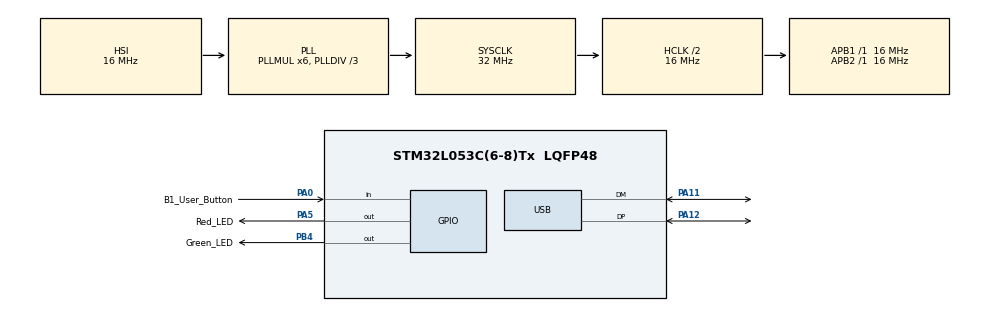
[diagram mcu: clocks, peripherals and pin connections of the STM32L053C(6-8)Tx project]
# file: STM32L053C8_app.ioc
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Mcu.Family=STM32L0
Mcu.Name=STM32L053C(6-8)Tx
Mcu.Package=LQFP48
NVIC.USB_IRQn=true\:0\:0\:false\:false\:true\:true\:true\:true
PA0.GPIO_Label=B1_User_Button
PA0.Signal=GPIO_Input
PA11.Mode=Device
PA11.Signal=USB_DM
PA12.Mode=Device
PA12.Signal=USB_DP
PA5.GPIO_Label=Red_LED
PA5.Signal=GPIO_Output
PB4.GPIO_Label=Green_LED
PB4.Signal=GPIO_Output
ProjectManager.HeapSize=0x200
ProjectManager.StackSize=0x400
ProjectManager.TargetToolchain=STM32CubeIDE
RCC.AHBCLKDivider=RCC_SYSCLK_DIV2
RCC.AHBFreq_Value=16000000
RCC.APB1Freq_Value=16000000
RCC.APB1TimFreq_Value=16000000
RCC.APB2Freq_Value=16000000
RCC.APB2TimFreq_Value=16000000
RCC.HCLKFreq_Value=16000000
RCC.HSE_VALUE=8000000
RCC.HSI16_VALUE=16000000
RCC.HSI48MClockSelection=RCC_USBCLKSOURCE_HSI48
RCC.HSI48_VALUE=48000000
RCC.HSI_VALUE=16000000
RCC.LSE_VALUE=32768
RCC.MSI_VALUE=2097000
RCC.PLLDIV=RCC_PLLDIV_3
RCC.PLLMUL=RCC_PLLMUL_6
RCC.SYSCLKFreq_VALUE=32000000
RCC.SYSCLKSource=RCC_SYSCLKSOURCE_PLLCLK
RCC.VCOOutputFreq_Value=96000000
USB_DEVICE.CLASS_NAME_FS=CDC
USB_DEVICE.VirtualMode=Cdc
USB_DEVICE.VirtualModeFS=Cdc_FS
VP_USB_DEVICE_VS_USB_DEVICE_CDC_FS.Mode=CDC_FS
board=usb_disk

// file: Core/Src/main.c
/* USER CODE BEGIN Header */
/**
 ******************************************************************************
 * @file           : main.c
 * @brief          : Main program body
 ******************************************************************************
 * @attention
 *
 * Copyright (c) 2025 STMicroelectronics.
 * All rights reserved.
 *
 * This software is licensed under terms that can be found in the LICENSE file
 * in the root directory of this software component.
 * If no LICENSE file comes with this software, it is provided AS-IS.
 *
 ******************************************************************************
 */
/* USER CODE END Header */
#include "main.h"
#include "usb_device.h"

/* USER CODE BEGIN Includes */
#include "usbd_cdc_if.h"
#include "modbus.h"
/* USER CODE END Includes */

/* USER CODE BEGIN PV */

__attribute__((used, section(".app_signature")))
    const __IO uint32_t flash_app_code =
    (uint32_t) 0xAA5500FF;

uint32_t u32_mtmp = 0;

/* USER CODE END PV */

void SystemClock_Config(void);
static void MX_GPIO_Init(void);

int main(void)
{

  /* MCU Configuration--------------------------------------------------------*/

  /* Reset of all peripherals, Initializes the Flash interface and the Systick. */
  HAL_Init ();

  /* Configure the system clock */
  SystemClock_Config ();

  /* Initialize all configured peripherals */
  MX_GPIO_Init ();
  MX_USB_DEVICE_Init ();
  /* USER CODE BEGIN 2 */
  if (flash_app_code != 0xAA5500FF)
  {
    u32_mtmp = 500;
  }
  /* USER CODE END 2 */

  /* Infinite loop */
  /* USER CODE BEGIN WHILE */
  HAL_GPIO_TogglePin (Red_LED_GPIO_Port, Red_LED_Pin);
  HAL_Delay (500 + u32_mtmp);
  HAL_GPIO_TogglePin (Green_LED_GPIO_Port, Green_LED_Pin);
  HAL_GPIO_TogglePin (Red_LED_GPIO_Port, Red_LED_Pin);
  HAL_Delay (500 + u32_mtmp);
  HAL_GPIO_TogglePin (Green_LED_GPIO_Port, Green_LED_Pin);
  HAL_GPIO_TogglePin (Red_LED_GPIO_Port, Red_LED_Pin);
  HAL_Delay (500 + u32_mtmp);
  HAL_GPIO_TogglePin (Green_LED_GPIO_Port, Green_LED_Pin);
  HAL_GPIO_TogglePin (Red_LED_GPIO_Port, Red_LED_Pin);
  while (1)
  {
    /* USER CODE END WHILE */
    if (st_modbus_data.rx_length)
    {
      modbus_rtu_app ();
      st_modbus_data.rx_length = 0;
    }
    if (st_modbus_data.tx_length)
    {
      HAL_Delay (10);
      CDC_Transmit_FS (st_modbus_data.ptr_tx, st_modbus_data.tx_length);
      st_modbus_data.tx_length = 0;
    }
  }
}

void SystemClock_Config(void)
{
  RCC_OscInitTypeDef RCC_OscInitStruct = { 0 };
  RCC_ClkInitTypeDef RCC_ClkInitStruct = { 0 };
  RCC_PeriphCLKInitTypeDef PeriphClkInit = { 0 };

  /** Configure the main internal regulator output voltage
   */
  __HAL_PWR_VOLTAGESCALING_CONFIG(PWR_REGULATOR_VOLTAGE_SCALE1);

  /** Initializes the RCC Oscillators according to the specified parameters
   * in the RCC_OscInitTypeDef structure.
   */
  RCC_OscInitStruct.OscillatorType = RCC_OSCILLATORTYPE_HSI | RCC_OSCILLATORTYPE_HSI48;
  RCC_OscInitStruct.HSIState = RCC_HSI_ON;
  RCC_OscInitStruct.HSICalibrationValue = RCC_HSICALIBRATION_DEFAULT;
  RCC_OscInitStruct.HSI48State = RCC_HSI48_ON;
  RCC_OscInitStruct.PLL.PLLState = RCC_PLL_ON;
  RCC_OscInitStruct.PLL.PLLSource = RCC_PLLSOURCE_HSI;
  RCC_OscInitStruct.PLL.PLLMUL = RCC_PLLMUL_6;
  RCC_OscInitStruct.PLL.PLLDIV = RCC_PLLDIV_3;
  if (HAL_RCC_OscConfig (&RCC_OscInitStruct) != HAL_OK)
  {
    Error_Handler ();
  }

  /** Initializes the CPU, AHB and APB buses clocks
   */
  RCC_ClkInitStruct.ClockType = RCC_CLOCKTYPE_HCLK | RCC_CLOCKTYPE_SYSCLK | RCC_CLOCKTYPE_PCLK1
      | RCC_CLOCKTYPE_PCLK2;
  RCC_ClkInitStruct.SYSCLKSource = RCC_SYSCLKSOURCE_PLLCLK;
  RCC_ClkInitStruct.AHBCLKDivider = RCC_SYSCLK_DIV2;
  RCC_ClkInitStruct.APB1CLKDivider = RCC_HCLK_DIV1;
  RCC_ClkInitStruct.APB2CLKDivider = RCC_HCLK_DIV1;

  if (HAL_RCC_ClockConfig (&RCC_ClkInitStruct, FLASH_LATENCY_0) != HAL_OK)
  {
    Error_Handler ();
  }
  PeriphClkInit.PeriphClockSelection = RCC_PERIPHCLK_USB;
  PeriphClkInit.UsbClockSelection = RCC_USBCLKSOURCE_HSI48;
  if (HAL_RCCEx_PeriphCLKConfig (&PeriphClkInit) != HAL_OK)
  {
    Error_Handler ();
  }
}

static void MX_GPIO_Init(void)
{
  GPIO_InitTypeDef GPIO_InitStruct = { 0 };

  /* GPIO Ports Clock Enable */
  __HAL_RCC_GPIOA_CLK_ENABLE();
  __HAL_RCC_GPIOB_CLK_ENABLE();

  /*Configure GPIO pin Output Level */
  HAL_GPIO_WritePin (Red_LED_GPIO_Port, Red_LED_Pin, GPIO_PIN_RESET);

  /*Configure GPIO pin Output Level */
  HAL_GPIO_WritePin (Green_LED_GPIO_Port, Green_LED_Pin, GPIO_PIN_RESET);

  /*Configure GPIO pin : B1_User_Button_Pin */
  GPIO_InitStruct.Pin = B1_User_Button_Pin;
  GPIO_InitStruct.Mode = GPIO_MODE_INPUT;
  GPIO_InitStruct.Pull = GPIO_NOPULL;
  HAL_GPIO_Init (B1_User_Button_GPIO_Port, &GPIO_InitStruct);

  /*Configure GPIO pin : Red_LED_Pin */
  GPIO_InitStruct.Pin = Red_LED_Pin;
  GPIO_InitStruct.Mode = GPIO_MODE_OUTPUT_PP;
  GPIO_InitStruct.Pull = GPIO_NOPULL;
  GPIO_InitStruct.Speed = GPIO_SPEED_FREQ_LOW;
  HAL_GPIO_Init (Red_LED_GPIO_Port, &GPIO_InitStruct);

  /*Configure GPIO pin : Green_LED_Pin */
  GPIO_InitStruct.Pin = Green_LED_Pin;
  GPIO_InitStruct.Mode = GPIO_MODE_OUTPUT_PP;
  GPIO_InitStruct.Pull = GPIO_NOPULL;
  GPIO_InitStruct.Speed = GPIO_SPEED_FREQ_LOW;
  HAL_GPIO_Init (Green_LED_GPIO_Port, &GPIO_InitStruct);

}

void Error_Handler(void)
{
  /* USER CODE BEGIN Error_Handler_Debug */
  /* User can add his own implementation to report the HAL error return state */
  __disable_irq ();
  while (1)
  {
  }
  /* USER CODE END Error_Handler_Debug */
}
